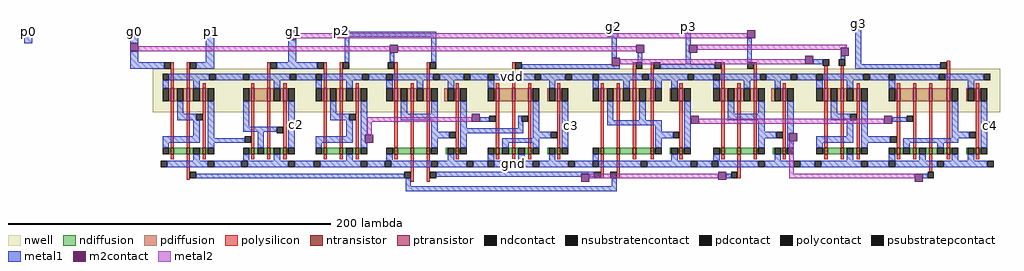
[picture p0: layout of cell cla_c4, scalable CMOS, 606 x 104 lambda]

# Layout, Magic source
magic
tech scmos
<< nwell >>
rect 32 -3 558 24
<< ntransistor >>
rect 43 -29 45 -25
rect 53 -29 55 -25
rect 63 -29 65 -25
rect 93 -29 95 -25
rect 103 -29 105 -25
rect 113 -29 115 -25
rect 138 -29 140 -25
rect 148 -29 150 -25
rect 158 -29 160 -25
rect 182 -29 184 -25
rect 192 -29 194 -25
rect 202 -29 204 -25
rect 220 -29 222 -25
rect 245 -29 247 -25
rect 255 -29 257 -25
rect 265 -29 267 -25
rect 283 -29 285 -25
rect 310 -29 312 -25
rect 320 -29 322 -25
rect 330 -29 332 -25
rect 341 -29 343 -25
rect 359 -29 361 -25
rect 385 -29 387 -25
rect 395 -29 397 -25
rect 405 -29 407 -25
rect 423 -29 425 -25
rect 449 -29 451 -25
rect 459 -29 461 -25
rect 469 -29 471 -25
rect 494 -29 496 -25
rect 504 -29 506 -25
rect 514 -29 516 -25
rect 525 -29 527 -25
rect 543 -29 545 -25
<< ptransistor >>
rect 43 4 45 12
rect 53 4 55 12
rect 63 4 65 12
rect 93 4 95 12
rect 103 4 105 12
rect 113 4 115 12
rect 138 4 140 12
rect 148 4 150 12
rect 158 4 160 12
rect 182 4 184 12
rect 192 4 194 12
rect 202 4 204 12
rect 220 4 222 12
rect 245 4 247 12
rect 255 4 257 12
rect 265 4 267 12
rect 283 4 285 12
rect 310 4 312 12
rect 320 4 322 12
rect 330 4 332 12
rect 341 4 343 12
rect 359 4 361 12
rect 385 4 387 12
rect 395 4 397 12
rect 405 4 407 12
rect 423 4 425 12
rect 449 4 451 12
rect 459 4 461 12
rect 469 4 471 12
rect 494 4 496 12
rect 504 4 506 12
rect 514 4 516 12
rect 525 4 527 12
rect 543 4 545 12
<< ndiffusion >>
rect 42 -29 43 -25
rect 45 -29 53 -25
rect 55 -29 57 -25
rect 61 -29 63 -25
rect 65 -29 66 -25
rect 92 -29 93 -25
rect 95 -29 97 -25
rect 101 -29 103 -25
rect 105 -29 107 -25
rect 111 -29 113 -25
rect 115 -29 116 -25
rect 137 -29 138 -25
rect 140 -29 148 -25
rect 150 -29 152 -25
rect 156 -29 158 -25
rect 160 -29 161 -25
rect 181 -29 182 -25
rect 184 -29 192 -25
rect 194 -29 202 -25
rect 204 -29 205 -25
rect 214 -29 215 -25
rect 219 -29 220 -25
rect 222 -29 223 -25
rect 244 -29 245 -25
rect 247 -29 249 -25
rect 253 -29 255 -25
rect 257 -29 259 -25
rect 263 -29 265 -25
rect 267 -29 268 -25
rect 277 -29 278 -25
rect 282 -29 283 -25
rect 285 -29 286 -25
rect 309 -29 310 -25
rect 312 -29 320 -25
rect 322 -29 330 -25
rect 332 -29 341 -25
rect 343 -29 344 -25
rect 353 -29 354 -25
rect 358 -29 359 -25
rect 361 -29 362 -25
rect 384 -29 385 -25
rect 387 -29 395 -25
rect 397 -29 405 -25
rect 407 -29 408 -25
rect 417 -29 418 -25
rect 422 -29 423 -25
rect 425 -29 426 -25
rect 448 -29 449 -25
rect 451 -29 459 -25
rect 461 -29 463 -25
rect 467 -29 469 -25
rect 471 -29 472 -25
rect 493 -29 494 -25
rect 496 -29 498 -25
rect 502 -29 504 -25
rect 506 -29 508 -25
rect 512 -29 514 -25
rect 516 -29 519 -25
rect 523 -29 525 -25
rect 527 -29 528 -25
rect 537 -29 538 -25
rect 542 -29 543 -25
rect 545 -29 546 -25
<< pdiffusion >>
rect 42 4 43 12
rect 45 4 47 12
rect 51 4 53 12
rect 55 4 57 12
rect 61 4 63 12
rect 65 4 66 12
rect 92 4 93 12
rect 95 4 103 12
rect 105 4 107 12
rect 111 4 113 12
rect 115 4 116 12
rect 137 4 138 12
rect 140 4 142 12
rect 146 4 148 12
rect 150 4 152 12
rect 156 4 158 12
rect 160 4 161 12
rect 181 4 182 12
rect 184 4 186 12
rect 190 4 192 12
rect 194 4 196 12
rect 200 4 202 12
rect 204 4 205 12
rect 213 4 215 12
rect 219 4 220 12
rect 222 4 223 12
rect 244 4 245 12
rect 247 4 255 12
rect 257 4 265 12
rect 267 4 268 12
rect 277 4 278 12
rect 282 4 283 12
rect 285 4 286 12
rect 309 4 310 12
rect 312 4 314 12
rect 318 4 320 12
rect 322 4 324 12
rect 328 4 330 12
rect 332 4 334 12
rect 338 4 341 12
rect 343 4 344 12
rect 353 4 354 12
rect 358 4 359 12
rect 361 4 362 12
rect 384 4 385 12
rect 387 4 389 12
rect 393 4 395 12
rect 397 4 399 12
rect 403 4 405 12
rect 407 4 408 12
rect 416 4 418 12
rect 422 4 423 12
rect 425 4 426 12
rect 448 4 449 12
rect 451 4 453 12
rect 457 4 459 12
rect 461 4 463 12
rect 467 4 469 12
rect 471 4 472 12
rect 493 4 494 12
rect 496 4 504 12
rect 506 4 514 12
rect 516 4 525 12
rect 527 4 528 12
rect 537 4 538 12
rect 542 4 543 12
rect 545 4 546 12
<< ndcontact >>
rect 38 -29 42 -25
rect 57 -29 61 -25
rect 66 -29 70 -25
rect 88 -29 92 -25
rect 97 -29 101 -25
rect 107 -29 111 -25
rect 116 -29 120 -25
rect 133 -29 137 -25
rect 152 -29 156 -25
rect 161 -29 165 -25
rect 177 -29 181 -25
rect 205 -29 209 -25
rect 215 -29 219 -25
rect 223 -29 227 -25
rect 240 -29 244 -25
rect 249 -29 253 -25
rect 259 -29 263 -25
rect 268 -29 272 -25
rect 278 -29 282 -25
rect 286 -29 290 -25
rect 305 -29 309 -25
rect 344 -29 348 -25
rect 354 -29 358 -25
rect 362 -29 366 -25
rect 380 -29 384 -25
rect 408 -29 412 -25
rect 418 -29 422 -25
rect 426 -29 430 -25
rect 444 -29 448 -25
rect 463 -29 467 -25
rect 472 -29 476 -25
rect 489 -29 493 -25
rect 498 -29 502 -25
rect 508 -29 512 -25
rect 519 -29 523 -25
rect 528 -29 532 -25
rect 538 -29 542 -25
rect 546 -29 550 -25
<< pdcontact >>
rect 38 4 42 12
rect 47 4 51 12
rect 57 4 61 12
rect 66 4 70 12
rect 88 4 92 12
rect 107 4 111 12
rect 116 4 120 12
rect 133 4 137 12
rect 142 4 146 12
rect 152 4 156 12
rect 161 4 165 12
rect 177 4 181 12
rect 186 4 190 12
rect 196 4 200 12
rect 205 4 209 12
rect 215 4 219 12
rect 223 4 227 12
rect 240 4 244 12
rect 268 4 272 12
rect 278 4 282 12
rect 286 4 290 12
rect 305 4 309 12
rect 314 4 318 12
rect 324 4 328 12
rect 334 4 338 12
rect 344 4 348 12
rect 354 4 358 12
rect 362 4 366 12
rect 380 4 384 12
rect 389 4 393 12
rect 399 4 403 12
rect 408 4 412 12
rect 418 4 422 12
rect 426 4 430 12
rect 444 4 448 12
rect 453 4 457 12
rect 463 4 467 12
rect 472 4 476 12
rect 489 4 493 12
rect 528 4 532 12
rect 538 4 542 12
rect 546 4 550 12
<< psubstratepcontact >>
rect 37 -37 41 -33
rect 66 -37 70 -33
rect 87 -37 91 -33
rect 116 -37 120 -33
rect 132 -37 136 -33
rect 161 -37 165 -33
rect 176 -37 180 -33
rect 205 -37 209 -33
rect 227 -37 231 -33
rect 240 -37 244 -33
rect 268 -37 272 -33
rect 290 -37 294 -33
rect 305 -37 309 -33
rect 335 -37 339 -33
rect 366 -37 370 -33
rect 379 -37 383 -33
rect 408 -37 412 -33
rect 430 -37 434 -33
rect 443 -37 447 -33
rect 472 -37 476 -33
rect 489 -37 493 -33
rect 519 -37 523 -33
rect 550 -37 554 -33
<< nsubstratencontact >>
rect 38 17 42 21
rect 67 17 71 21
rect 88 17 92 21
rect 117 17 121 21
rect 133 17 137 21
rect 162 17 166 21
rect 177 17 181 21
rect 206 17 210 21
rect 225 17 229 21
rect 240 17 244 21
rect 269 17 273 21
rect 288 17 292 21
rect 305 17 309 21
rect 336 17 340 21
rect 364 17 368 21
rect 380 17 384 21
rect 409 17 413 21
rect 428 17 432 21
rect 444 17 448 21
rect 473 17 477 21
rect 489 17 493 21
rect 520 17 524 21
rect 548 17 552 21
<< polysilicon >>
rect 43 12 45 28
rect 53 12 55 28
rect 63 12 65 15
rect 93 12 95 15
rect 103 12 105 28
rect 113 12 115 15
rect 138 12 140 28
rect 148 12 150 28
rect 158 12 160 15
rect 182 12 184 28
rect 192 12 194 15
rect 202 12 204 28
rect 220 12 222 15
rect 245 12 247 15
rect 255 12 257 28
rect 265 12 267 15
rect 283 12 285 15
rect 310 12 312 15
rect 320 12 322 15
rect 330 12 332 28
rect 341 12 343 28
rect 359 12 361 15
rect 385 12 387 28
rect 395 12 397 15
rect 405 12 407 28
rect 423 12 425 15
rect 449 12 451 26
rect 459 12 461 26
rect 469 12 471 15
rect 494 12 496 15
rect 504 12 506 15
rect 514 12 516 15
rect 525 12 527 29
rect 543 12 545 15
rect 43 -25 45 4
rect 53 -25 55 4
rect 63 -25 65 4
rect 93 -25 95 4
rect 103 -25 105 4
rect 113 -25 115 4
rect 138 -25 140 4
rect 148 -25 150 4
rect 158 -25 160 4
rect 182 -25 184 4
rect 192 -25 194 4
rect 202 -25 204 4
rect 220 -25 222 4
rect 245 -25 247 4
rect 255 -25 257 4
rect 265 -25 267 4
rect 283 -25 285 4
rect 310 -25 312 4
rect 320 -25 322 4
rect 330 -25 332 4
rect 341 -25 343 4
rect 359 -25 361 4
rect 385 -25 387 4
rect 395 -25 397 4
rect 405 -25 407 4
rect 423 -25 425 4
rect 449 -25 451 4
rect 459 -25 461 4
rect 469 -25 471 4
rect 494 -25 496 4
rect 504 -25 506 4
rect 514 -25 516 4
rect 525 -25 527 4
rect 543 -25 545 4
rect 43 -32 45 -29
rect 53 -45 55 -29
rect 63 -32 65 -29
rect 93 -32 95 -29
rect 103 -32 105 -29
rect 113 -32 115 -29
rect 138 -32 140 -29
rect 148 -32 150 -29
rect 158 -32 160 -29
rect 182 -32 184 -29
rect 192 -46 194 -29
rect 202 -46 204 -29
rect 220 -32 222 -29
rect 245 -32 247 -29
rect 255 -32 257 -29
rect 265 -32 267 -29
rect 283 -32 285 -29
rect 310 -44 312 -29
rect 320 -44 322 -29
rect 330 -32 332 -29
rect 341 -32 343 -29
rect 359 -32 361 -29
rect 385 -32 387 -29
rect 395 -44 397 -29
rect 405 -32 407 -29
rect 423 -32 425 -29
rect 449 -32 451 -29
rect 459 -32 461 -29
rect 469 -32 471 -29
rect 494 -32 496 -29
rect 504 -32 506 -29
rect 514 -40 516 -29
rect 525 -32 527 -29
rect 543 -32 545 -29
<< polycontact >>
rect 39 24 43 28
rect 55 24 59 28
rect 105 24 109 28
rect 134 24 138 28
rect 150 24 154 28
rect 178 24 182 28
rect 204 24 208 28
rect 257 24 261 28
rect 332 24 336 28
rect 343 24 347 28
rect 381 24 385 28
rect 401 24 405 28
rect 448 26 452 30
rect 458 26 462 30
rect 521 24 525 28
rect 59 -8 63 -4
rect 89 -22 93 -18
rect 109 -16 113 -12
rect 154 -8 158 -4
rect 216 -19 220 -15
rect 241 -9 245 -5
rect 261 -9 265 -5
rect 279 -19 283 -15
rect 355 -19 359 -15
rect 419 -19 423 -15
rect 465 -8 469 -4
rect 490 -22 494 -18
rect 500 -9 504 -5
rect 539 -19 543 -15
rect 55 -44 59 -40
rect 188 -44 192 -40
rect 204 -44 208 -40
rect 306 -44 310 -40
rect 316 -44 320 -40
rect 391 -44 395 -40
rect 513 -44 517 -40
<< metal1 >>
rect -48 40 -43 47
rect 18 40 23 47
rect 18 28 23 35
rect 65 28 70 48
rect 117 47 120 48
rect 146 47 154 48
rect 146 44 208 47
rect 314 44 321 50
rect 362 46 366 50
rect 146 43 154 44
rect 116 28 121 42
rect 151 28 154 43
rect 179 28 182 34
rect 205 28 208 44
rect 317 31 320 44
rect 363 39 366 46
rect 467 47 472 52
rect 363 34 365 39
rect 18 24 39 28
rect 59 24 70 28
rect 109 24 134 28
rect 261 26 317 27
rect 333 28 336 34
rect 261 24 322 26
rect 363 27 366 34
rect 401 28 404 43
rect 347 24 381 27
rect 459 30 462 32
rect 442 27 448 30
rect 468 27 472 47
rect 468 24 521 27
rect 42 17 67 21
rect 71 17 88 21
rect 92 17 117 21
rect 121 17 133 21
rect 137 17 162 21
rect 166 17 177 21
rect 181 17 206 21
rect 210 17 225 21
rect 229 17 240 21
rect 244 17 269 21
rect 273 17 288 21
rect 292 17 305 21
rect 309 17 336 21
rect 340 17 364 21
rect 368 17 380 21
rect 384 17 409 21
rect 413 17 428 21
rect 432 17 444 21
rect 448 17 473 21
rect 477 17 489 21
rect 493 17 520 21
rect 524 17 548 21
rect 38 12 42 17
rect 57 12 61 17
rect 107 12 111 17
rect 133 12 137 17
rect 152 12 156 17
rect 177 12 181 17
rect 196 12 200 17
rect 215 12 219 17
rect 240 12 244 17
rect 278 12 282 17
rect 305 12 309 17
rect 324 12 328 17
rect 344 12 348 17
rect 47 -4 51 4
rect 47 -8 59 -4
rect 57 -18 61 -8
rect 38 -22 61 -18
rect 66 -19 70 4
rect 354 12 358 17
rect 380 12 384 17
rect 399 12 403 17
rect 418 12 422 17
rect 444 12 448 17
rect 463 12 467 17
rect 489 12 493 17
rect 538 12 542 17
rect 88 -12 92 4
rect 116 -8 120 4
rect 142 -4 146 4
rect 142 -8 154 -4
rect 88 -15 109 -12
rect 66 -22 89 -19
rect 38 -25 42 -22
rect 66 -25 70 -22
rect 97 -25 101 -15
rect 116 -13 121 -8
rect 116 -25 120 -13
rect 152 -18 156 -8
rect 133 -22 156 -18
rect 161 -17 165 4
rect 186 -4 190 4
rect 205 -4 209 4
rect 186 -8 209 -4
rect 205 -15 209 -8
rect 223 -13 227 4
rect 235 -9 241 -6
rect 259 -9 261 -5
rect 259 -13 262 -9
rect 161 -22 164 -17
rect 205 -19 216 -15
rect 223 -16 262 -13
rect 268 -15 272 4
rect 286 -9 290 4
rect 314 -8 318 4
rect 334 -8 338 4
rect 286 -13 292 -9
rect 314 -11 348 -8
rect 133 -25 137 -22
rect 161 -25 165 -22
rect 205 -25 209 -19
rect 223 -25 227 -16
rect 268 -19 279 -15
rect 249 -22 272 -19
rect 249 -25 253 -22
rect 268 -25 272 -22
rect 286 -25 290 -13
rect 344 -15 348 -11
rect 344 -19 355 -15
rect 344 -25 348 -19
rect 362 -25 366 4
rect 389 -4 393 4
rect 408 -4 412 4
rect 389 -8 412 -4
rect 408 -15 412 -8
rect 408 -19 419 -15
rect 426 -16 430 4
rect 453 -4 457 4
rect 453 -8 465 -4
rect 408 -25 412 -19
rect 426 -21 427 -16
rect 463 -18 467 -8
rect 426 -25 430 -21
rect 444 -22 467 -18
rect 472 -18 476 4
rect 491 -9 500 -6
rect 528 -15 532 4
rect 546 -9 550 4
rect 546 -13 552 -9
rect 472 -22 490 -18
rect 528 -19 539 -15
rect 498 -22 532 -19
rect 444 -25 448 -22
rect 472 -25 476 -22
rect 498 -25 502 -22
rect 519 -25 523 -22
rect 546 -25 550 -13
rect 57 -33 61 -29
rect 88 -33 92 -29
rect 107 -33 111 -29
rect 152 -33 156 -29
rect 177 -33 181 -29
rect 215 -33 219 -29
rect 240 -33 244 -29
rect 259 -33 263 -29
rect 278 -33 282 -29
rect 305 -33 309 -29
rect 354 -33 358 -29
rect 380 -33 384 -29
rect 418 -33 422 -29
rect 463 -33 467 -29
rect 489 -33 493 -29
rect 508 -33 512 -29
rect 528 -33 532 -29
rect 538 -33 542 -29
rect 41 -37 66 -33
rect 70 -37 87 -33
rect 91 -37 116 -33
rect 120 -37 132 -33
rect 136 -37 161 -33
rect 165 -37 176 -33
rect 180 -37 205 -33
rect 209 -37 227 -33
rect 231 -37 240 -33
rect 244 -37 268 -33
rect 272 -37 290 -33
rect 294 -37 305 -33
rect 309 -37 335 -33
rect 339 -37 366 -33
rect 370 -37 379 -33
rect 383 -37 408 -33
rect 412 -37 430 -33
rect 434 -37 443 -33
rect 447 -37 472 -33
rect 476 -37 489 -33
rect 493 -37 519 -33
rect 523 -37 550 -33
rect 59 -44 188 -41
rect 208 -41 306 -40
rect 208 -43 298 -41
rect 189 -49 192 -44
rect 303 -43 306 -41
rect 317 -49 320 -44
rect 388 -44 391 -41
rect 510 -44 513 -41
rect 189 -52 320 -49
<< m2contact >>
rect 18 35 23 40
rect 116 42 121 47
rect 179 34 184 39
rect 401 43 406 48
rect 332 34 337 39
rect 365 34 370 39
rect 317 26 322 31
rect 459 32 464 37
rect 437 27 442 32
rect 230 -9 235 -4
rect 164 -22 169 -17
rect 366 -10 371 -5
rect 427 -21 432 -16
rect 486 -10 491 -5
rect 298 -46 303 -41
rect 383 -45 388 -40
rect 505 -46 510 -41
<< metal2 >>
rect 19 44 23 49
rect 121 43 401 46
rect 23 35 179 38
rect 184 35 332 38
rect 370 37 463 39
rect 370 36 459 37
rect 322 27 437 30
rect 165 -9 230 -6
rect 165 -17 168 -9
rect 371 -10 486 -7
rect 303 -44 383 -41
rect 427 -41 430 -21
rect 427 -44 505 -41
<< labels >>
rlabel metal1 -47 47 -44 47 4 p0
rlabel m2contact 118 47 121 47 6 g1
rlabel metal1 121 -13 121 -8 1 c2
rlabel metal1 147 48 151 48 6 p2
rlabel metal1 255 19 255 19 5 vdd
rlabel metal1 256 -35 256 -35 1 gnd
rlabel metal1 292 -13 292 -9 1 c3
rlabel metal1 19 47 22 47 6 g0
rlabel metal1 316 50 320 50 6 g2
rlabel metal1 363 50 366 50 1 p3
rlabel metal1 468 52 472 52 1 g3
rlabel metal1 67 47 70 47 5 p1
rlabel metal1 552 -13 552 -9 1 c4
<< end >>
